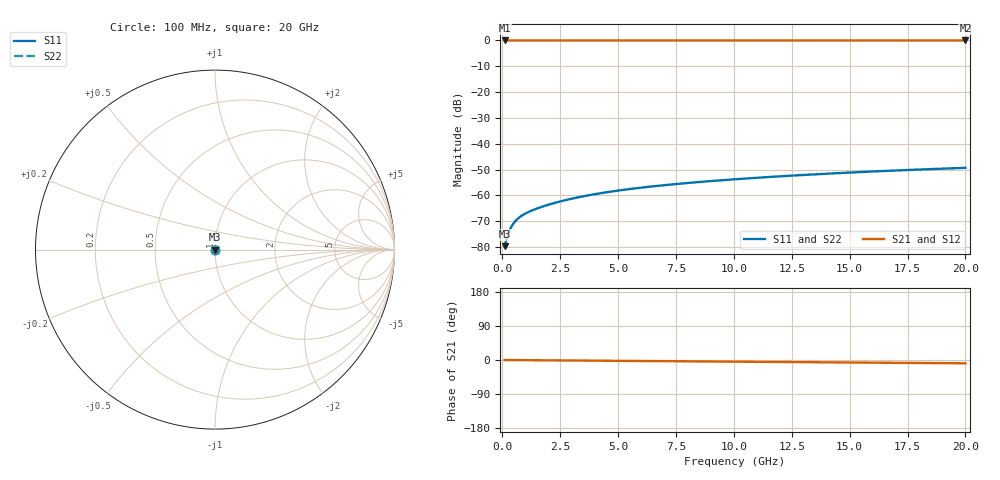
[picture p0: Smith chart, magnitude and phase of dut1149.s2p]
! Touchstone file exported from HFSS 2026.1.0
!  File:  C:/ffzhzh/LocalFiles/Ansys_Project_Files/temp_train_TSV_1149_1783191553_43440.aedt
!  Generated:  03:00:41 AM Jul  5, 2026
!  Design:  TSV
!  Project:  temp_train_TSV_1149_1783191553_43440
! Variables:
!  h_bsmrdl = 2um
!  h_ox = 20um
!  h_rdl = 5um
!  h_sub = 86.27um
!  h_tmrdl = 5um
!  h_tsv = 86.27um
!  h_via = 3um
!  l_bsmrdl = 300um
!  l_sub = 427.06um
!  l_tmrdl = 200um
!  m_sub = 200um
!  pitch = 55.23um
!  r_tsv = 13.53um
!  s_tmrdl = 10um
!  w_bsmrdl = 18um
!  w_sub = 500um
!  w_tmrdl = 12um
!  x_tsv_center1 = 206um
!  x_tsv_center2 = 524um
!  x_tsv_center3 = 736um
!  x_tsv_center4 = 1054um
!  x_tsv_center5 = 1266um
!  x_tsv_center6 = 1584um
# GHz S MA R 50.000000
! Terminal data exported
! Port[1] = TSV1_1_T1
! Port[2] = TSV1_1_T2
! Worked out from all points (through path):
!   200 points, 100 MHz to 20 GHz, reference 50 ohm
!   highest |S21| = 0.00 dB at 100 MHz (marker M1); lowest = 0.0 dB at 20 GHz (marker M2)
!   group delay of S21, straight-line fit = 1.21 ps
!   lowest |S11| = -79.6 dB at 100 MHz (marker M3), VSWR 1.00, Z = 50 + j0.00596 ohm
!   |S11| at or under -10 dB: start of sweep to end of sweep
!   |S22| runs from -79.6 to -49.3 dB; largest |S21 - S12| = 2.1e-15
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0.1  0.0001042 34.9  0.9999 -0.0  0.9999 -0.0  0.0001042 34.9
! Gamma 0 0 0 0
! Port Impedance 50 0 50 0
0.2  0.0001524 49.1  0.9999 -0.1  0.9999 -0.1  0.0001524 49.1
0.3  0.0002037 53.8  0.9999 -0.1  0.9999 -0.1  0.0002037 53.8
0.4  0.0002514 55.0  0.9999 -0.2  0.9999 -0.2  0.0002514 55.0
0.5  0.0002941 55.1  0.9998 -0.2  0.9998 -0.2  0.0002941 55.1
0.6  0.0003317 54.8  0.9998 -0.3  0.9998 -0.3  0.0003317 54.8
0.7  0.0003651 54.4  0.9998 -0.3  0.9998 -0.3  0.0003651 54.4
0.9  0.0004223 54.0  0.9998 -0.4  0.9998 -0.4  0.0004223 54.0
1.1  0.0004715 54.1  0.9997 -0.5  0.9997 -0.5  0.0004715 54.1
1.3  0.0005166 54.6  0.9997 -0.6  0.9997 -0.6  0.0005165 54.6
1.9  0.0006426 56.7  0.9996 -0.8  0.9996 -0.8  0.0006425 56.7
2.7  0.0008053 59.0  0.9996 -1.2  0.9996 -1.2  0.0008053 59.0
3.5  0.0009634 60.5  0.9995 -1.5  0.9995 -1.5  0.0009634 60.5
4.2  0.001096 61.3  0.9995 -1.9  0.9995 -1.9  0.001096 61.3
5  0.001242 61.9  0.9995 -2.2  0.9995 -2.2  0.001242 61.9
5.9  0.001398 62.4  0.9994 -2.6  0.9994 -2.6  0.001398 62.3
6.8  0.001548 62.7  0.9994 -3.0  0.9994 -3.0  0.001548 62.7
8.3  0.001788 63.1  0.9993 -3.6  0.9993 -3.6  0.001788 63.1
10.1  0.002064 63.5  0.9992 -4.4  0.9992 -4.4  0.002064 63.5
13.4  0.002547 63.6  0.9991 -5.9  0.9991 -5.9  0.002547 63.6
16.7  0.003001 63.3  0.999 -7.3  0.999 -7.3  0.003002 63.3
20  0.003423 62.6  0.9989 -8.8  0.9989 -8.8  0.003423 62.6
